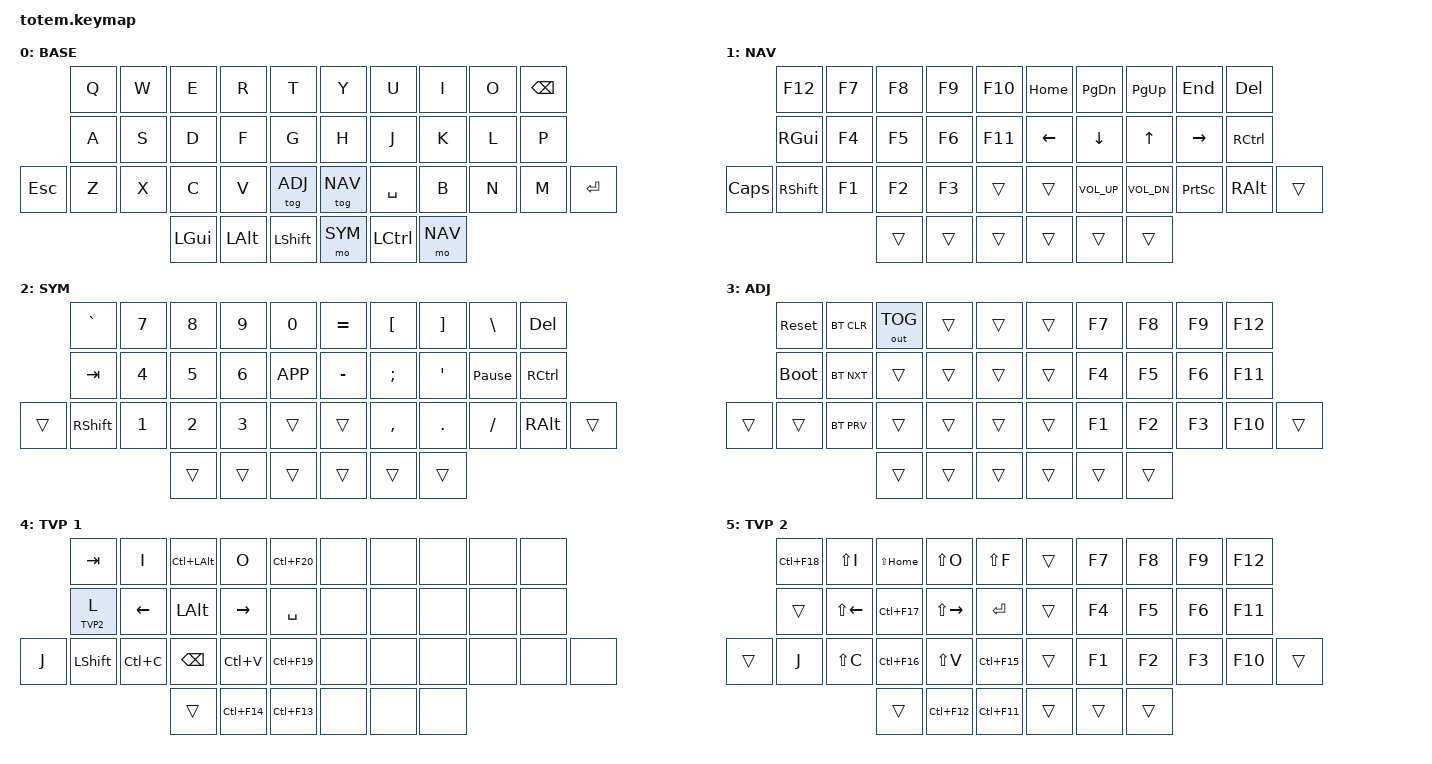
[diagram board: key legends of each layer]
//
//                                                        ▀▀▀▀▀     ▀▀▀▀▀          ▀▀█▀▀
//                                                        ▄▀▀▀▄  ▄  ▄▀▀▀▄  ▄  ▄▀▀▀▄  █  ▄▀▀▀▄
//                                                        █   █  █  █   █  █  █   █  █  █   █
//                                                         ▀▀▀   █   ▀▀▀   █   ▀▀▀   ▀   ▀▀▀
//                                                               █      ▄▄▄█▄▄▄    █   █  
//                                                               ▀      █  █  █     █▄█
//                                                             ▀▀▀▀▀    █  █  █      ▀
//                                                                      ▀  ▀  ▀
//
// ▄▄▄▄▄▄▄▄▄▄▄▄▄▄▄▄▄▄▄▄▄▄▄▄▄▄▄▄▄▄▄▄▄▄▄▄▄▄▄▄▄▄▄▄▄▄▄▄▄▄▄▄▄▄▄▄▄▄▄▄▄▄▄▄▄▄▄▄▄▄▄▄▄▄▄▄▄▄▄▄▄▄▄▄▄▄▄▄▄▄▄▄▄▄▄▄▄▄▄▄▄▄▄▄▄▄▄▄▄▄▄▄▄▄▄▄▄▄▄▄▄▄▄▄▄▄▄▄▄▄▄▄▄▄▄▄▄▄▄▄▄▄▄▄▄▄▄▄▄
       

#include <behaviors.dtsi>
#include <dt-bindings/zmk/keys.h>
#include <dt-bindings/zmk/bt.h>
#include <dt-bindings/zmk/outputs.h>

#define BASE 0
#define NAV  1
#define SYM  2
#define ADJ  3
#define TVP1 4
#define TVP2 5

&mt {
  quick-tap-ms = <100>;
  global-quick-tap;
  flavor = "tap-preferred";
  tapping-term-ms = <170>;
};

/ {
     combos {
            compatible = "zmk,combos";
            combo_esc {
                timeout-ms = <50>;
                key-positions = <0 1>;
                bindings = <&kp ESC>;
            };
            combo_tvp {
                timeout-ms = <100>;
                key-positions = <11 12 13>;
                bindings = <&tog TVP1>;
            };
    };

    macros {
        gif: gif {
            label = "giphy";
            compatible = "zmk,behavior-macro";
            #binding-cells = <0>;
            bindings
                = <&macro_press &kp LSHFT>
                , <&macro_tap &kp N2>
                , <&macro_release &kp LSHFT>
                , <&macro_tap &kp G &kp I &kp F>
                ;
        };
    };

        keymap {
                compatible = "zmk,keymap";
// ▄▄▄▄▄▄▄▄▄▄▄▄▄▄▄▄▄▄▄▄▄▄▄▄▄▄▄▄▄▄▄▄▄▄▄▄▄▄▄▄▄▄▄▄▄▄▄▄▄▄▄▄▄▄▄▄▄▄▄▄▄▄▄▄▄▄▄▄▄▄▄▄▄▄▄▄▄▄▄▄▄▄▄▄▄▄▄▄▄▄▄▄▄▄▄▄▄▄▄▄▄▄▄▄▄▄▄▄▄▄▄▄▄▄▄▄▄▄▄▄▄▄▄▄▄▄▄▄▄▄▄▄▄▄▄▄▄▄▄▄▄▄▄▄▄▄▄▄▄

                base_layer {
// ┏━━━━━━━━━━━━━━━━━━━━━━━━━━━━━━━━━━━━━━━┓
label= "BASE"                              ;
// ┗━━━━━━━━━━━━━━━━━━━━━━━━━━━━━━━━━━━━━━━┛
//             ┏━━━━━━━━━━━┳━━━━━━━━━━━┳━━━━━━━━━━━┳━━━━━━━━━━━┳━━━━━━━━━━━┓   ┏━━━━━━━━━━━┳━━━━━━━━━━━┳━━━━━━━━━━━┳━━━━━━━━━━━┳━━━━━━━━━━━┓
//             ┃     Q     ┃     W     ┃     F     ┃     P     ┃     G     ┃   ┃     J     ┃     L     ┃     U     ┃     Y     ┃     ;     ┃
//             ┣━━━━━━━━━━━╋━━━━━━━━━━━╋━━━━━━━━━━━╋━━━━━━━━━━━╋━━━━━━━━━━━┫   ┣━━━━━━━━━━━╋━━━━━━━━━━━╋━━━━━━━━━━━╋━━━━━━━━━━━╋━━━━━━━━━━━┫
//             ┃     A     ┃     R     ┃     S     ┃     T     ┃     D     ┃   ┃     H     ┃     N     ┃     E     ┃     I     ┃     O     ┃
// ┏━━━━━━━━━━━╋━━━━━━━━━━━╋━━━━━━━━━━━╋━━━━━━━━━━━╋━━━━━━━━━━━╋━━━━━━━━━━━┫   ┣━━━━━━━━━━━╋━━━━━━━━━━━╋━━━━━━━━━━━╋━━━━━━━━━━━╋━━━━━━━━━━━╋━━━━━━━━━━━┓
// ┃     Q     ┃     Z     ┃     X     ┃     C     ┃     V     ┃     B     ┃   ┃     K     ┃     M     ┃     ,     ┃     .     ┃     /     ┃     \     ┃
// ┗━━━━━━━━━━━┻━━━━━━━━━━━┻━━━━━━━━━━━╋━━━━━━━━━━━╋━━━━━━━━━━━╋━━━━━━━━━━━┫   ┣━━━━━━━━━━━╋━━━━━━━━━━━╋━━━━━━━━━━━╋━━━━━━━━━━━┻━━━━━━━━━━━┻━━━━━━━━━━━┛
//                                     ┃    DEL    ┃    TAB    ┃    SPC    ┃   ┃   ENTER   ┃           ┃   BSPC    ┃
//                                     ┗━━━━━━━━━━━┻━━━━━━━━━━━┻━━━━━━━━━━━┛   ┗━━━━━━━━━━━┻━━━━━━━━━━━┻━━━━━━━━━━━┛
 bindings = <
// ╷           ╷           ╷           ╷           ╷           ╷           ╷   ╷           ╷           ╷           ╷           ╷           ╷           ╷

                &kp Q       &kp W       &kp E       &kp R       &kp T           &kp Y       &kp U       &kp I       &kp O       &kp BSPC
                &kp A       &kp S       &kp D       &kp F       &kp G           &kp H       &kp J       &kp K       &kp L       &kp P
    &kp ESC     &kp Z       &kp X       &kp C       &kp V       &tog ADJ        &tog NAV   &kp SPACE   &kp B       &kp N       &kp M    &kp RET
                                        &kp LGUI    &kp LALT    &kp LSHIFT      &mo SYM     &kp LCTRL      &mo NAV
                        >;
                };

// ▄▄▄▄▄▄▄▄▄▄▄▄▄▄▄▄▄▄▄▄▄▄▄▄▄▄▄▄▄▄▄▄▄▄▄▄▄▄▄▄▄▄▄▄▄▄▄▄▄▄▄▄▄▄▄▄▄▄▄▄▄▄▄▄▄▄▄▄▄▄▄▄▄▄▄▄▄▄▄▄▄▄▄▄▄▄▄▄▄▄▄▄▄▄▄▄▄▄▄▄▄▄▄▄▄▄▄▄▄▄▄▄▄▄▄▄▄▄▄▄▄▄▄▄▄▄▄▄▄▄▄▄▄▄▄▄▄▄▄▄▄▄▄▄▄▄▄▄▄


                nav_layer {
// ┏━━━━━━━━━━━━━━━━━━━━━━━━━━━━━━━━━━━━━━━┓
label= "NAV"                              ;
// ┗━━━━━━━━━━━━━━━━━━━━━━━━━━━━━━━━━━━━━━━┛
//             ┏━━━━━━━━━━━┳━━━━━━━━━━━┳━━━━━━━━━━━┳━━━━━━━━━━━┳━━━━━━━━━━━┓   ┏━━━━━━━━━━━┳━━━━━━━━━━━┳━━━━━━━━━━━┳━━━━━━━━━━━┳━━━━━━━━━━━┓
//             ┃           ┃           ┃     UP    ┃           ┃     {     ┃   ┃     }     ┃     7     ┃     8     ┃     9     ┃     +     ┃
//             ┣━━━━━━━━━━━╋━━━━━━━━━━━╋━━━━━━━━━━━╋━━━━━━━━━━━╋━━━━━━━━━━━┫   ┣━━━━━━━━━━━╋━━━━━━━━━━━╋━━━━━━━━━━━╋━━━━━━━━━━━╋━━━━━━━━━━━┫
//             ┃   SHIFT   ┃   LEFT    ┃    DOWN   ┃   RIGHT   ┃     [     ┃   ┃     ]     ┃     4     ┃     5     ┃     6     ┃     -     ┃
// ┏━━━━━━━━━━━╋━━━━━━━━━━━╋━━━━━━━━━━━╋━━━━━━━━━━━╋━━━━━━━━━━━╋━━━━━━━━━━━┫   ┣━━━━━━━━━━━╋━━━━━━━━━━━╋━━━━━━━━━━━╋━━━━━━━━━━━╋━━━━━━━━━━━╋━━━━━━━━━━━┓
// ┃           ┃           ┃   P UP    ┃  C LOCK   ┃  P DOWN   ┃     (     ┃   ┃     )     ┃     1     ┃     2     ┃     3     ┃     *     ┃           ┃
// ┗━━━━━━━━━━━┻━━━━━━━━━━━┻━━━━━━━━━━━╋━━━━━━━━━━━╋━━━━━━━━━━━╋━━━━━━━━━━━┫   ┣━━━━━━━━━━━╋━━━━━━━━━━━╋━━━━━━━━━━━╋━━━━━━━━━━━┻━━━━━━━━━━━┻━━━━━━━━━━━┛
//                                     ┃           ┃    TAB    ┃    SPC    ┃   ┃    DEL    ┃     0     ┃           ┃
//                                     ┗━━━━━━━━━━━┻━━━━━━━━━━━┻━━━━━━━━━━━┛   ┗━━━━━━━━━━━┻━━━━━━━━━━━┻━━━━━━━━━━━┛
 bindings = <
// ╷           ╷           ╷           ╷           ╷           ╷           ╷   ╷           ╷           ╷           ╷           ╷           ╷           ╷

                &kp F12     &kp F7      &kp F8      &kp F9      &kp F10        &kp HOME    &kp PG_DN   &kp PG_UP   &kp END   &kp DEL
                &kp RGUI    &kp F4      &kp F5      &kp F6      &kp F11        &kp LEFT    &kp DOWN    &kp UP      &kp RIGHT   &kp RCTRL
    &kp CAPS    &kp RSHIFT  &kp F1   &kp F2    &kp F3           &trans         &trans      &kp K_VOL_UP   &kp K_VOL_DN   &kp PSCRN   &kp RALT &trans      
                                        &trans      &trans      &trans          &trans      &trans      &trans      
                        >;
                };

// ▄▄▄▄▄▄▄▄▄▄▄▄▄▄▄▄▄▄▄▄▄▄▄▄▄▄▄▄▄▄▄▄▄▄▄▄▄▄▄▄▄▄▄▄▄▄▄▄▄▄▄▄▄▄▄▄▄▄▄▄▄▄▄▄▄▄▄▄▄▄▄▄▄▄▄▄▄▄▄▄▄▄▄▄▄▄▄▄▄▄▄▄▄▄▄▄▄▄▄▄▄▄▄▄▄▄▄▄▄▄▄▄▄▄▄▄▄▄▄▄▄▄▄▄▄▄▄▄▄▄▄▄▄▄▄▄▄▄▄▄▄▄▄▄▄▄▄▄▄


                sim_layer {
// ┏━━━━━━━━━━━━━━━━━━━━━━━━━━━━━━━━━━━━━━━┓
label= "SYM"                               ;
// ┗━━━━━━━━━━━━━━━━━━━━━━━━━━━━━━━━━━━━━━━┛
//             ┏━━━━━━━━━━━┳━━━━━━━━━━━┳━━━━━━━━━━━┳━━━━━━━━━━━┳━━━━━━━━━━━┓   ┏━━━━━━━━━━━┳━━━━━━━━━━━┳━━━━━━━━━━━┳━━━━━━━━━━━┳━━━━━━━━━━━┓
//             ┃     !     ┃     @     ┃     #     ┃     $     ┃     %     ┃   ┃     ˆ     ┃     &     ┃     Ü     ┃     '     ┃     "     ┃
//             ┣━━━━━━━━━━━╋━━━━━━━━━━━╋━━━━━━━━━━━╋━━━━━━━━━━━╋━━━━━━━━━━━┫   ┣━━━━━━━━━━━╋━━━━━━━━━━━╋━━━━━━━━━━━╋━━━━━━━━━━━╋━━━━━━━━━━━┫
//             ┃     Ä     ┃           ┃    SZ     ┃           ┃           ┃   ┃   MUTE    ┃   YEN     ┃   EURO    ┃  POUND    ┃     Ö     ┃
// ┏━━━━━━━━━━━╋━━━━━━━━━━━╋━━━━━━━━━━━╋━━━━━━━━━━━╋━━━━━━━━━━━╋━━━━━━━━━━━┫   ┣━━━━━━━━━━━╋━━━━━━━━━━━╋━━━━━━━━━━━╋━━━━━━━━━━━╋━━━━━━━━━━━╋━━━━━━━━━━━┓
// ┃           ┃  EMAIL1   ┃  EMAIL2   ┃           ┃           ┃           ┃   ┃   VOL-    ┃   VOL+    ┃   LAST    ┃   NEXT    ┃     \     ┃           ┃
// ┗━━━━━━━━━━━┻━━━━━━━━━━━┻━━━━━━━━━━━╋━━━━━━━━━━━╋━━━━━━━━━━━╋━━━━━━━━━━━┫   ┣━━━━━━━━━━━╋━━━━━━━━━━━╋━━━━━━━━━━━╋━━━━━━━━━━━┻━━━━━━━━━━━┻━━━━━━━━━━━┛
//                                     ┃           ┃    GIF    ┃    ADJ    ┃   ┃           ┃           ┃           ┃
//                                     ┗━━━━━━━━━━━┻━━━━━━━━━━━┻━━━━━━━━━━━┛   ┗━━━━━━━━━━━┻━━━━━━━━━━━┻━━━━━━━━━━━┛
 bindings = <
// ╷           ╷           ╷           ╷           ╷           ╷           ╷   ╷           ╷           ╷           ╷           ╷           ╷           ╷

                &kp GRAVE    &kp N7     &kp N8      &kp N9    &kp N0            &kp EQUAL   &kp LBKT    &kp RBKT   &kp BSLH     &kp DEL       
                &kp TAB      &kp N4     &kp N5      &kp N6      &kp K_APP       &kp MINUS   &kp SEMI    &kp APOS   &kp PAUSE_BREAK   &kp RCTRL 
    &trans      &kp RSHIFT   &kp N1     &kp N2      &kp N3      &trans          &trans      &kp COMMA   &kp DOT    &kp FSLH      &kp RALT   &trans         
                                        &trans      &trans        &trans         &trans      &trans    &trans      
                        >;
                };

// ▄▄▄▄▄▄▄▄▄▄▄▄▄▄▄▄▄▄▄▄▄▄▄▄▄▄▄▄▄▄▄▄▄▄▄▄▄▄▄▄▄▄▄▄▄▄▄▄▄▄▄▄▄▄▄▄▄▄▄▄▄▄▄▄▄▄▄▄▄▄▄▄▄▄▄▄▄▄▄▄▄▄▄▄▄▄▄▄▄▄▄▄▄▄▄▄▄▄▄▄▄▄▄▄▄▄▄▄▄▄▄▄▄▄▄▄▄▄▄▄▄▄▄▄▄▄▄▄▄▄▄▄▄▄▄▄▄▄▄▄▄▄▄▄▄▄▄▄▄


                adjust_layer {
// ┏━━━━━━━━━━━━━━━━━━━━━━━━━━━━━━━━━━━━━━━┓
label= "ADJ"                               ;
// ┗━━━━━━━━━━━━━━━━━━━━━━━━━━━━━━━━━━━━━━━┛
//             ┏━━━━━━━━━━━┳━━━━━━━━━━━┳━━━━━━━━━━━┳━━━━━━━━━━━┳━━━━━━━━━━━┓   ┏━━━━━━━━━━━┳━━━━━━━━━━━┳━━━━━━━━━━━┳━━━━━━━━━━━┳━━━━━━━━━━━┓
//             ┃   RESET   ┃ BT CLEAR  ┃  OUT TOG  ┃           ┃           ┃   ┃           ┃    F7     ┃    F8     ┃    F9     ┃    F12    ┃
//             ┣━━━━━━━━━━━╋━━━━━━━━━━━╋━━━━━━━━━━━╋━━━━━━━━━━━╋━━━━━━━━━━━┫   ┣━━━━━━━━━━━╋━━━━━━━━━━━╋━━━━━━━━━━━╋━━━━━━━━━━━╋━━━━━━━━━━━┫
//             ┃ BOOTLOAD  ┃ BT NEXT   ┃           ┃           ┃           ┃   ┃           ┃    F4     ┃    F5     ┃    F6     ┃    F11    ┃
// ┏━━━━━━━━━━━╋━━━━━━━━━━━╋━━━━━━━━━━━╋━━━━━━━━━━━╋━━━━━━━━━━━╋━━━━━━━━━━━┫   ┣━━━━━━━━━━━╋━━━━━━━━━━━╋━━━━━━━━━━━╋━━━━━━━━━━━╋━━━━━━━━━━━╋━━━━━━━━━━━┓
// ┃           ┃           ┃ BT PREV   ┃           ┃           ┃           ┃   ┃           ┃    F1     ┃    F2     ┃    F3     ┃    F10    ┃           ┃
// ┗━━━━━━━━━━━┻━━━━━━━━━━━┻━━━━━━━━━━━╋━━━━━━━━━━━╋━━━━━━━━━━━╋━━━━━━━━━━━┫   ┣━━━━━━━━━━━╋━━━━━━━━━━━╋━━━━━━━━━━━╋━━━━━━━━━━━┻━━━━━━━━━━━┻━━━━━━━━━━━┛
//                                     ┃           ┃           ┃           ┃   ┃           ┃           ┃           ┃
//                                     ┗━━━━━━━━━━━┻━━━━━━━━━━━┻━━━━━━━━━━━┛   ┗━━━━━━━━━━━┻━━━━━━━━━━━┻━━━━━━━━━━━┛
 bindings = <
// ╷           ╷           ╷           ╷           ╷           ╷           ╷   ╷           ╷           ╷           ╷           ╷           ╷           ╷

                &sys_reset  &bt BT_CLR &out OUT_TOG &trans      &trans          &trans      &kp F7      &kp F8      &kp F9      &kp F12
                &bootloader &bt BT_NXT  &trans      &trans      &trans          &trans      &kp F4      &kp F5      &kp F6      &kp F11  
    &trans      &trans      &bt BT_PRV  &trans      &trans      &trans          &trans      &kp F1      &kp F2      &kp F3      &kp F10     &trans         
                                        &trans      &trans      &trans          &trans      &trans      &trans      
                        >;
                };

// ▄▄▄▄▄▄▄▄▄▄▄▄▄▄▄▄▄▄▄▄▄▄▄▄▄▄▄▄▄▄▄▄▄▄▄▄▄▄▄▄▄▄▄▄▄▄▄▄▄▄▄▄▄▄▄▄▄▄▄▄▄▄▄▄▄▄▄▄▄▄▄▄▄▄▄▄▄▄▄▄▄▄▄▄▄▄▄▄▄▄▄▄▄▄▄▄▄▄▄▄▄▄▄▄▄▄▄▄▄▄▄▄▄▄▄▄▄▄▄▄▄▄▄▄▄▄▄▄▄▄▄▄▄▄▄▄▄▄▄▄▄▄▄▄▄▄▄▄▄


                tvp1_layer {
// ┏━━━━━━━━━━━━━━━━━━━━━━━━━━━━━━━━━━━━━━━┓
label= "TVP 1"                             ;
// ┗━━━━━━━━━━━━━━━━━━━━━━━━━━━━━━━━━━━━━━━┛
//             ┏━━━━━━━━━━━┳━━━━━━━━━━━┳━━━━━━━━━━━┳━━━━━━━━━━━┳━━━━━━━━━━━┓   ┏━━━━━━━━━━━┳━━━━━━━━━━━┳━━━━━━━━━━━┳━━━━━━━━━━━┳━━━━━━━━━━━┓
//             ┃ NEXT FILE ┃ MARK IN   ┃ ROTATE    ┃ MARK OUT  ┃ SHOW SNAP ┃   ┃           ┃           ┃           ┃           ┃           ┃
//             ┣━━━━━━━━━━━╋━━━━━━━━━━━╋━━━━━━━━━━━╋━━━━━━━━━━━╋━━━━━━━━━━━┫   ┣━━━━━━━━━━━╋━━━━━━━━━━━╋━━━━━━━━━━━╋━━━━━━━━━━━╋━━━━━━━━━━━┫
//             ┃ TVP II    ┃ LEFT      ┃ PAN       ┃ RIGHT     ┃ PLAY/FLIP ┃   ┃           ┃           ┃           ┃           ┃           ┃
// ┏━━━━━━━━━━━╋━━━━━━━━━━━╋━━━━━━━━━━━╋━━━━━━━━━━━╋━━━━━━━━━━━╋━━━━━━━━━━━┫   ┣━━━━━━━━━━━╋━━━━━━━━━━━╋━━━━━━━━━━━╋━━━━━━━━━━━╋━━━━━━━━━━━╋━━━━━━━━━━━┓
// ┃ FULLSCR   ┃ SHIFT     ┃ COPY      ┃ DELETE    ┃ PASTE     ┃ IMG MARK  ┃   ┃           ┃           ┃           ┃           ┃           ┃           ┃
// ┗━━━━━━━━━━━┻━━━━━━━━━━━┻━━━━━━━━━━━╋━━━━━━━━━━━╋━━━━━━━━━━━╋━━━━━━━━━━━┫   ┣━━━━━━━━━━━╋━━━━━━━━━━━╋━━━━━━━━━━━╋━━━━━━━━━━━┻━━━━━━━━━━━┻━━━━━━━━━━━┛
//                                     ┃           ┃ UNDO/SAVE ┃  SEL/MOV  ┃   ┃           ┃           ┃           ┃
//                                     ┗━━━━━━━━━━━┻━━━━━━━━━━━┻━━━━━━━━━━━┛   ┗━━━━━━━━━━━┻━━━━━━━━━━━┻━━━━━━━━━━━┛
 bindings = <
// ╷           ╷           ╷           ╷           ╷           ╷           ╷   ╷           ╷           ╷           ╷           ╷           ╷           ╷

                &kp TAB     &kp I       &kp LC(LALT) &kp O      &kp LC(F20)     &none       &none       &none       &none       &none
                &lt TVP2 L  &kp LEFT    &kp LALT    &kp RIGHT   &kp SPACE       &none       &none       &none       &none       &none
    &kp J       &kp LSHFT   &kp LC(C)   &kp BSPC    &kp LC(V)   &kp LC(F19)     &none       &none       &none       &none       &none       &none        
                                        &trans      &kp LC(F14) &kp LC(F13)     &none       &none       &none    
                        >;
                };

// ▄▄▄▄▄▄▄▄▄▄▄▄▄▄▄▄▄▄▄▄▄▄▄▄▄▄▄▄▄▄▄▄▄▄▄▄▄▄▄▄▄▄▄▄▄▄▄▄▄▄▄▄▄▄▄▄▄▄▄▄▄▄▄▄▄▄▄▄▄▄▄▄▄▄▄▄▄▄▄▄▄▄▄▄▄▄▄▄▄▄▄▄▄▄▄▄▄▄▄▄▄▄▄▄▄▄▄▄▄▄▄▄▄▄▄▄▄▄▄▄▄▄▄▄▄▄▄▄▄▄▄▄▄▄▄▄▄▄▄▄▄▄▄▄▄▄▄▄▄


                tvp2_layer {
// ┏━━━━━━━━━━━━━━━━━━━━━━━━━━━━━━━━━━━━━━━┓
label= "TVP 2"                             ;
// ┗━━━━━━━━━━━━━━━━━━━━━━━━━━━━━━━━━━━━━━━┛
//             ┏━━━━━━━━━━━┳━━━━━━━━━━━┳━━━━━━━━━━━┳━━━━━━━━━━━┳━━━━━━━━━━━┓   ┏━━━━━━━━━━━┳━━━━━━━━━━━┳━━━━━━━━━━━┳━━━━━━━━━━━┳━━━━━━━━━━━┓
//             ┃ SOLO      ┃ TOGGLE IN ┃ RESET ROT ┃ TOGGLE OUT┃ TAKE SNAP ┃   ┃           ┃           ┃           ┃           ┃           ┃
//             ┣━━━━━━━━━━━╋━━━━━━━━━━━╋━━━━━━━━━━━╋━━━━━━━━━━━╋━━━━━━━━━━━┫   ┣━━━━━━━━━━━╋━━━━━━━━━━━╋━━━━━━━━━━━╋━━━━━━━━━━━╋━━━━━━━━━━━┫
//             ┃ ---       ┃ LAST KEY  ┃ NEW KEY   ┃ NEXT KEY  ┃ ENTER     ┃   ┃           ┃           ┃           ┃           ┃           ┃
// ┏━━━━━━━━━━━╋━━━━━━━━━━━╋━━━━━━━━━━━╋━━━━━━━━━━━╋━━━━━━━━━━━╋━━━━━━━━━━━┫   ┣━━━━━━━━━━━╋━━━━━━━━━━━╋━━━━━━━━━━━╋━━━━━━━━━━━╋━━━━━━━━━━━╋━━━━━━━━━━━┓
// ┃           ┃ FULLSCR   ┃ CPY2BRUSH ┃ DEL HEAD  ┃ PSTinPLACE┃ BOOK MARK ┃   ┃           ┃           ┃           ┃           ┃           ┃           ┃
// ┗━━━━━━━━━━━┻━━━━━━━━━━━┻━━━━━━━━━━━╋━━━━━━━━━━━╋━━━━━━━━━━━╋━━━━━━━━━━━┫   ┣━━━━━━━━━━━╋━━━━━━━━━━━╋━━━━━━━━━━━╋━━━━━━━━━━━┻━━━━━━━━━━━┻━━━━━━━━━━━┛
//                                     ┃           ┃ REDO/SAV1 ┃TRANS/WARP ┃   ┃           ┃           ┃           ┃
//                                     ┗━━━━━━━━━━━┻━━━━━━━━━━━┻━━━━━━━━━━━┛   ┗━━━━━━━━━━━┻━━━━━━━━━━━┻━━━━━━━━━━━┛
 bindings = <
// ╷           ╷           ╷           ╷           ╷           ╷           ╷   ╷           ╷           ╷           ╷           ╷           ╷           ╷

                &kp LC(F18) &kp LS(I)  &kp LS(HOME) &kp LS(O)   &kp LS(F)       &trans      &kp F7      &kp F8      &kp F9      &kp F12
                &trans      &kp LS(LEFT) &kp LC(F17) &kp LS(RIGHT) &kp RET      &trans      &kp F4      &kp F5      &kp F6      &kp F11  
    &trans      &kp J       &kp LS(C)   &kp LC(F16) &kp LS(V)   &kp LC(F15)     &trans      &kp F1      &kp F2      &kp F3      &kp F10     &trans         
                                        &trans      &kp LC(F12) &kp LC(F11)     &trans      &trans      &trans      
                        >;
                };
        };
};
